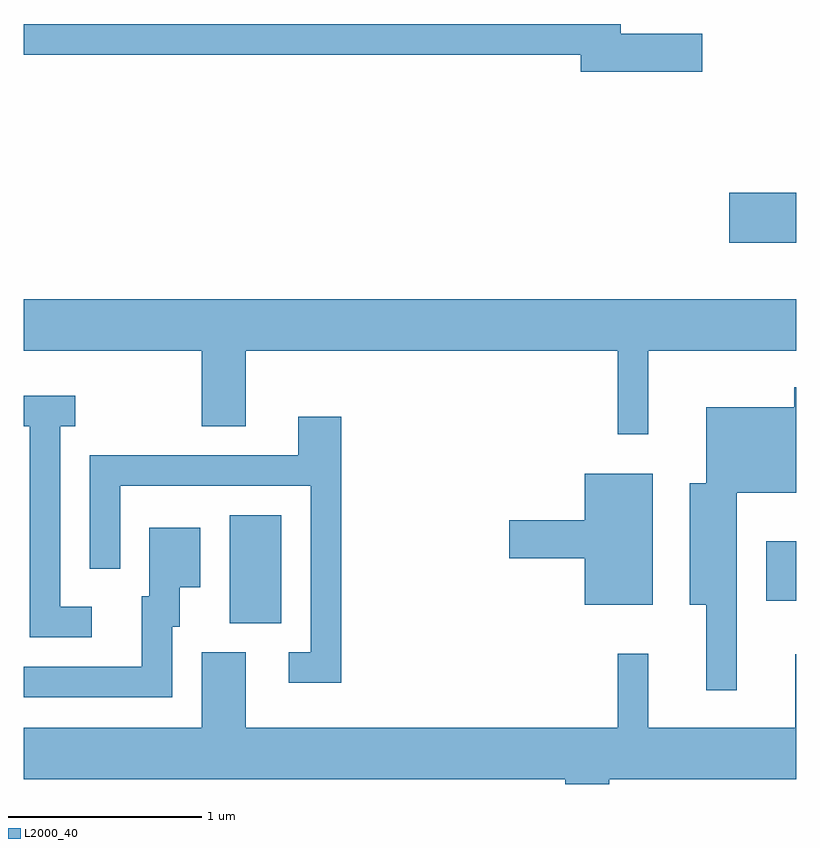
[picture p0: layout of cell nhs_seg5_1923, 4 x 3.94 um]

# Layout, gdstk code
import gdstk
lib = gdstk.Library(unit=1e-6, precision=1e-09)
def R(c, l, rs):  # rectangles x0, y0, x1, y1
    for r in rs: c.add(gdstk.rectangle(r[:2], r[2:], *l))
def P(c, l, *ps):  # polygons
    for p in ps: c.add(gdstk.Polygon(p, *l))
L2000_40 = (2000, 40)

nhs_seg5_1923 = lib.new_cell('nhs_seg5_1923')
R(nhs_seg5_1923, L2000_40, [(242.676,1490.906,242.944,1491.464), (245.456,1491.021,245.611,1491.329), (245.266,1492.876,245.611,1493.134)])
P(nhs_seg5_1923, L2000_40, [(245.124,1493.959),(244.704,1493.959),(244.704,1494.009),(241.611,1494.009),(241.611,1493.851),(244.496,1493.851),(244.496,1493.761),(245.124,1493.761)],
  [(244.844,1492.316),(245.611,1492.316),(245.611,1492.584),(241.611,1492.584),(241.611,1492.316),(242.531,1492.316),(242.531,1491.926),(242.759,1491.926),(242.759,1492.316),(244.686,1492.316),(244.686,1491.883),(244.844,1491.883)],
  [(245.304,1491.581),(245.611,1491.581),(245.611,1492.128),(245.601,1492.128),(245.601,1492.024),(245.146,1492.024),(245.146,1491.629),(245.061,1491.629),(245.061,1491.001),(245.146,1491.001),(245.146,1490.558),(245.304,1490.558)],
  [(241.963,1490.989),(241.799,1490.989),(241.799,1491.926),(241.878,1491.926),(241.878,1492.084),(241.611,1492.084),(241.611,1491.926),(241.641,1491.926),(241.641,1490.831),(241.963,1490.831)],
  [(243.254,1491.974),(243.031,1491.974),(243.031,1491.774),(241.951,1491.774),(241.951,1491.188),(242.109,1491.188),(242.109,1491.616),(243.096,1491.616),(243.096,1490.754),(242.983,1490.754),(242.983,1490.596),(243.254,1490.596)],
  [(244.869,1491.679),(244.516,1491.679),(244.516,1491.439),(244.126,1491.439),(244.126,1491.241),(244.516,1491.241),(244.516,1491.001),(244.869,1491.001)],
  [(242.379,1490.886),(242.419,1490.886),(242.419,1491.091),(242.524,1491.091),(242.524,1491.399),(242.261,1491.399),(242.261,1491.044),(242.221,1491.044),(242.221,1490.679),(241.611,1490.679),(241.611,1490.521),(242.379,1490.521)],
  [(244.644,1490.096),(245.611,1490.096),(245.611,1490.743),(245.606,1490.743),(245.606,1490.364),(244.844,1490.364),(244.844,1490.748),(244.686,1490.748),(244.686,1490.364),(242.759,1490.364),(242.759,1490.754),(242.531,1490.754),(242.531,1490.364),(241.611,1490.364),(241.611,1490.096),(244.416,1490.096),(244.416,1490.072),(244.644,1490.072)])

lib.write_gds('nhs_seg5_1923.gds')
